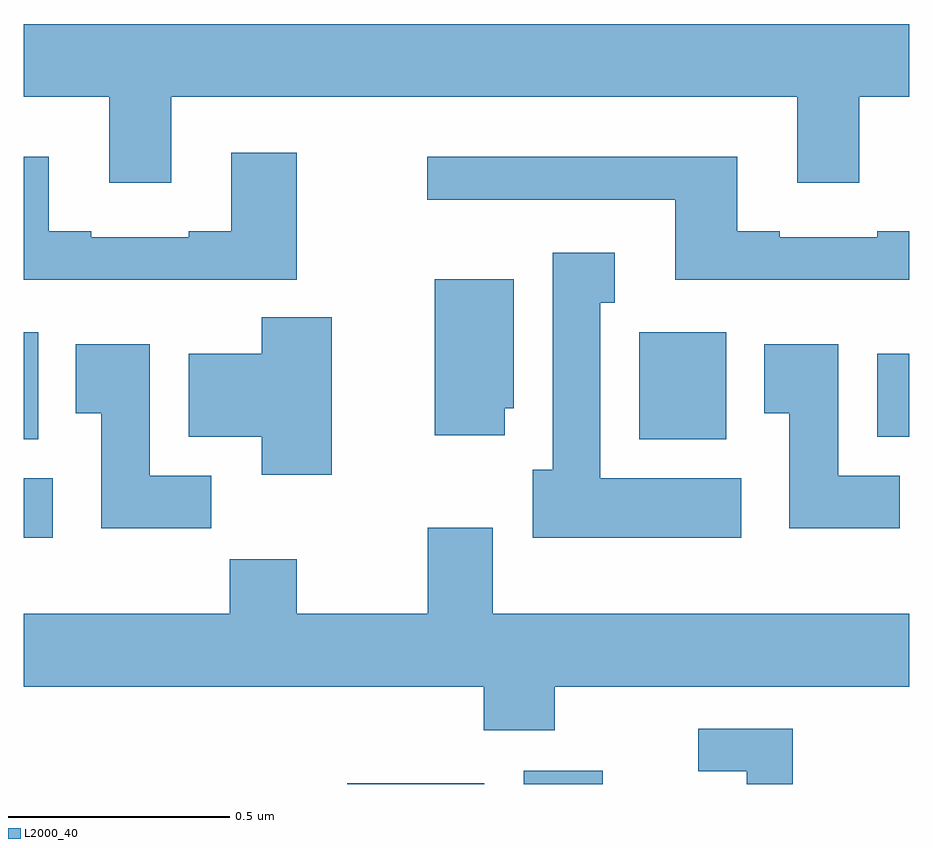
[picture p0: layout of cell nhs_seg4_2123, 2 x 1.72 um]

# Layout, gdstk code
import gdstk
lib = gdstk.Library(unit=1e-6, precision=1e-09)
def R(c, l, rs):  # rectangles x0, y0, x1, y1
    for r in rs: c.add(gdstk.rectangle(r[:2], r[2:], *l))
def P(c, l, *ps):  # polygons
    for p in ps: c.add(gdstk.Polygon(p, *l))
L2000_40 = (2000, 40)

nhs_seg4_2123 = lib.new_cell('nhs_seg4_2123')
R(nhs_seg4_2123, L2000_40, [(136.731,829.9,137.04,829.902), (137.129,829.9,137.308,829.93), (136,830.456,136.066,830.59), (136,830.678,136.033,830.92), (137.39,830.678,137.587,830.92), (137.927,830.684,138,830.872)])
P(nhs_seg4_2123, L2000_40, [(136.333,831.452),(137.747,831.452),(137.747,831.258),(137.887,831.258),(137.887,831.452),(138,831.452),(138,831.616),(136,831.616),(136,831.452),(136.193,831.452),(136.193,831.258),(136.333,831.258)],
  [(136.505,831.039),(136.617,831.039),(136.617,831.325),(136.469,831.325),(136.469,831.148),(136.373,831.148),(136.373,831.135),(136.153,831.135),(136.153,831.148),(136.057,831.148),(136.057,831.316),(136,831.316),(136,831.038),(136.505,831.038)],
  [(138,831.148),(137.927,831.148),(137.927,831.135),(137.707,831.135),(137.707,831.148),(137.611,831.148),(137.611,831.316),(136.911,831.316),(136.911,831.219),(137.471,831.219),(137.471,831.038),(138,831.038)],
  [(137.62,830.59),(137.302,830.59),(137.302,830.987),(137.335,830.987),(137.335,831.1),(137.195,831.1),(137.195,830.61),(137.15,830.61),(137.15,830.456),(137.62,830.456)],
  [(137.086,830.748),(137.107,830.748),(137.107,831.04),(136.928,831.04),(136.928,830.688),(137.086,830.688)],
  [(136.696,830.954),(136.538,830.954),(136.538,830.872),(136.373,830.872),(136.373,830.684),(136.538,830.684),(136.538,830.598),(136.696,830.598)],
  [(137.978,830.596),(137.839,830.596),(137.839,830.893),(137.672,830.893),(137.672,830.737),(137.729,830.737),(137.729,830.478),(137.978,830.478)],
  [(136.424,830.596),(136.285,830.596),(136.285,830.893),(136.118,830.893),(136.118,830.737),(136.175,830.737),(136.175,830.478),(136.424,830.478)],
  [(137.199,830.12),(138,830.12),(138,830.284),(137.059,830.284),(137.059,830.479),(136.912,830.479),(136.912,830.284),(136.617,830.284),(136.617,830.408),(136.465,830.408),(136.465,830.284),(136,830.284),(136,830.12),(137.039,830.12),(137.039,830.021),(137.199,830.021)],
  [(137.737,830.025),(137.523,830.025),(137.523,829.929),(137.633,829.929),(137.633,829.9),(137.737,829.9)])

lib.write_gds('nhs_seg4_2123.gds')
